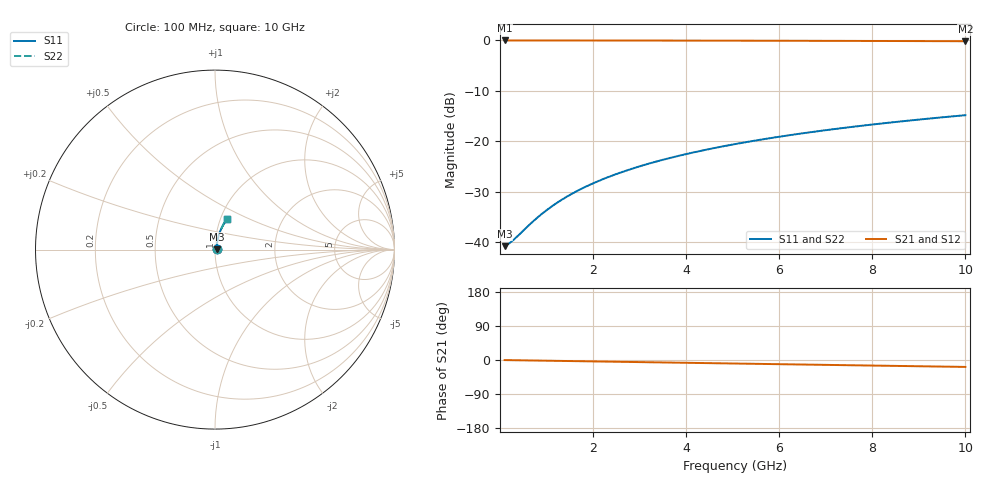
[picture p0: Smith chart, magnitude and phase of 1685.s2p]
# Hz S RI R 50.00
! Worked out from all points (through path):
!   100 points, 100 MHz to 10 GHz, reference 50 ohm
!   highest |S21| = -0.08 dB at 100 MHz (marker M1); lowest = -0.2 dB at 10 GHz (marker M2)
!   group delay of S21, straight-line fit = 5.08 ps
!   lowest |S11| = -40.8 dB at 100 MHz (marker M3), VSWR 1.02, Z = 50.9 + j0.186 ohm
!   |S11| at or under -10 dB: start of sweep to end of sweep
!   |S22| runs from -40.8 to -14.9 dB; largest |S21 - S12| = 0
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1e8  0.00894 0.00182  0.9911 -0.00319  0.9911 -0.00319  0.00894 0.00182
2e8  0.00901 0.00365  0.991 -0.00639  0.991 -0.00639  0.00901 0.00365
3e8  0.00909 0.00547  0.9909 -0.00958  0.9909 -0.00958  0.00909 0.00547
7e8  0.00943 0.0128  0.9905 -0.0223  0.9905 -0.0223  0.00943 0.0128
8e8  0.00954 0.0146  0.9904 -0.0255  0.9904 -0.0255  0.00954 0.0146
1e9  0.00979 0.0182  0.9901 -0.0319  0.9901 -0.0319  0.00979 0.0182
1.2e9  0.0101 0.0219  0.9898 -0.0383  0.9898 -0.0383  0.0101 0.0219
1.4e9  0.0104 0.0255  0.9894 -0.0447  0.9894 -0.0447  0.0104 0.0255
1.6e9  0.0108 0.0291  0.9889 -0.051  0.9889 -0.051  0.0108 0.0291
1.8e9  0.0112 0.0327  0.9884 -0.0574  0.9884 -0.0574  0.0112 0.0327
2.1e9  0.0119 0.0381  0.9876 -0.0669  0.9876 -0.0669  0.0119 0.0381
2.5e9  0.0131 0.0453  0.9863 -0.0796  0.9863 -0.0796  0.0131 0.0453
2.9e9  0.0144 0.0525  0.9848 -0.0922  0.9848 -0.0922  0.0144 0.0525
3.4e9  0.0162 0.0614  0.9826 -0.108  0.9826 -0.108  0.0162 0.0614
3.8e9  0.0179 0.0684  0.9806 -0.1205  0.9806 -0.1205  0.0179 0.0684
4.2e9  0.0198 0.0754  0.9785 -0.133  0.9785 -0.133  0.0198 0.0754
5.1e9  0.0247 0.091  0.9728 -0.1609  0.9728 -0.1609  0.0247 0.091
5.9e9  0.0298 0.1045  0.9669 -0.1854  0.9669 -0.1854  0.0298 0.1045
6.7e9  0.0355 0.1177  0.9602 -0.2096  0.9602 -0.2096  0.0355 0.1177
7.5e9  0.0419 0.1305  0.9527 -0.2334  0.9527 -0.2334  0.0419 0.1305
8.4e9  0.0498 0.1445  0.9435 -0.2598  0.9435 -0.2598  0.0498 0.1445
1e10  0.0656 0.168  0.9248 -0.3053  0.9248 -0.3053  0.0656 0.168
